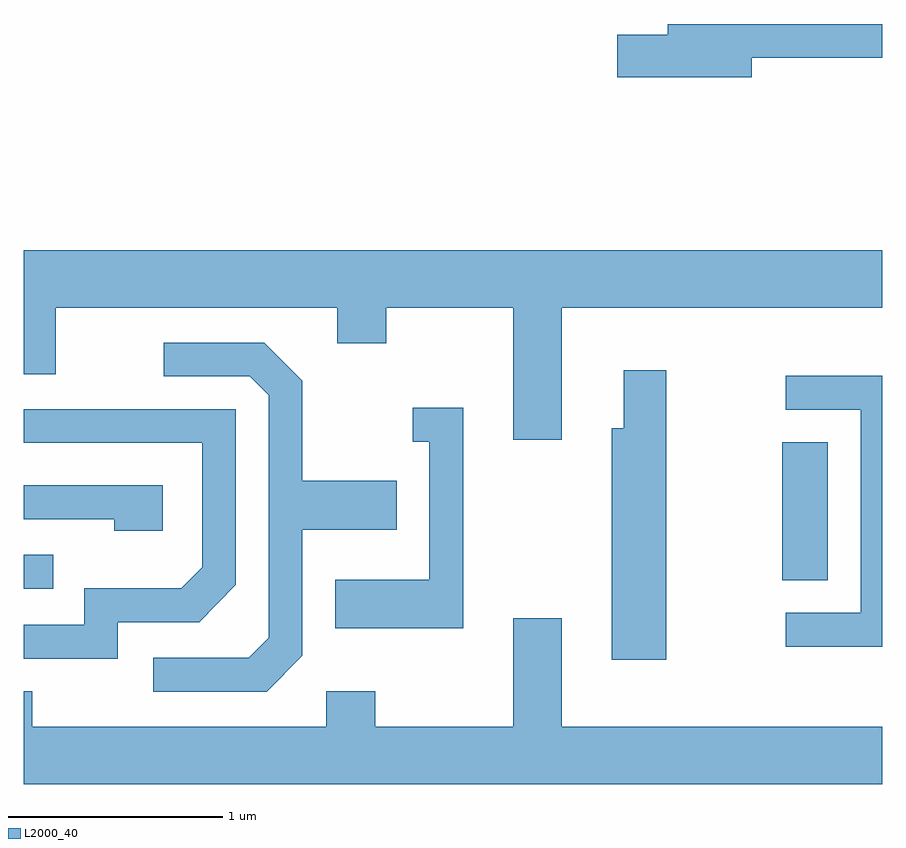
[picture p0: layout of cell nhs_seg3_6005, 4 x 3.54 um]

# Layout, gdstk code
import gdstk
lib = gdstk.Library(unit=1e-6, precision=1e-09)
def R(c, l, rs):  # rectangles x0, y0, x1, y1
    for r in rs: c.add(gdstk.rectangle(r[:2], r[2:], *l))
def P(c, l, *ps):  # polygons
    for p in ps: c.add(gdstk.Polygon(p, *l))
L2000_40 = (2000, 40)

nhs_seg3_6005 = lib.new_cell('nhs_seg3_6005')
R(nhs_seg3_6005, L2000_40, [(361.611,1166.886,361.748,1167.044), (365.146,1166.926,365.359,1167.569)])
P(nhs_seg3_6005, L2000_40, [(365.004,1169.361),(365.611,1169.361),(365.611,1169.519),(364.611,1169.519),(364.611,1169.469),(364.376,1169.469),(364.376,1169.271),(365.004,1169.271)],
  [(364.119,1168.196),(365.611,1168.196),(365.611,1168.464),(361.611,1168.464),(361.611,1167.886),(361.759,1167.886),(361.759,1168.196),(363.071,1168.196),(363.071,1168.031),(363.299,1168.031),(363.299,1168.196),(363.891,1168.196),(363.891,1167.581),(364.119,1167.581)],
  [(362.909,1166.574),(362.909,1167.161),(363.349,1167.161),(363.349,1167.389),(362.909,1167.389),(362.909,1167.857),(362.732,1168.034),(362.263,1168.034),(362.263,1167.876),(362.664,1167.876),(362.751,1167.789),(362.751,1166.657),(362.659,1166.564),(362.213,1166.564),(362.213,1166.406),(362.742,1166.406)],
  [(364.604,1167.904),(364.406,1167.904),(364.406,1167.634),(364.351,1167.634),(364.351,1166.556),(364.604,1166.556)],
  [(365.611,1167.879),(365.163,1167.879),(365.163,1167.721),(365.511,1167.721),(365.511,1166.774),(365.163,1166.774),(365.163,1166.616),(365.611,1166.616)],
  [(363.659,1167.729),(363.423,1167.729),(363.423,1167.571),(363.501,1167.571),(363.501,1166.929),(363.061,1166.929),(363.061,1166.701),(363.659,1166.701)],
  [(362.049,1166.731),(362.427,1166.731),(362.599,1166.904),(362.599,1167.724),(361.611,1167.724),(361.611,1167.566),(362.441,1167.566),(362.441,1166.987),(362.344,1166.889),(361.891,1166.889),(361.891,1166.719),(361.611,1166.719),(361.611,1166.561),(362.049,1166.561)],
  [(362.259,1167.369),(361.611,1167.369),(361.611,1167.211),(362.031,1167.211),(362.031,1167.156),(362.259,1167.156)],
  [(365.611,1166.244),(364.119,1166.244),(364.119,1166.749),(363.891,1166.749),(363.891,1166.244),(363.249,1166.244),(363.249,1166.409),(363.021,1166.409),(363.021,1166.244),(361.649,1166.244),(361.649,1166.409),(361.611,1166.409),(361.611,1165.976),(365.611,1165.976)])

lib.write_gds('nhs_seg3_6005.gds')
